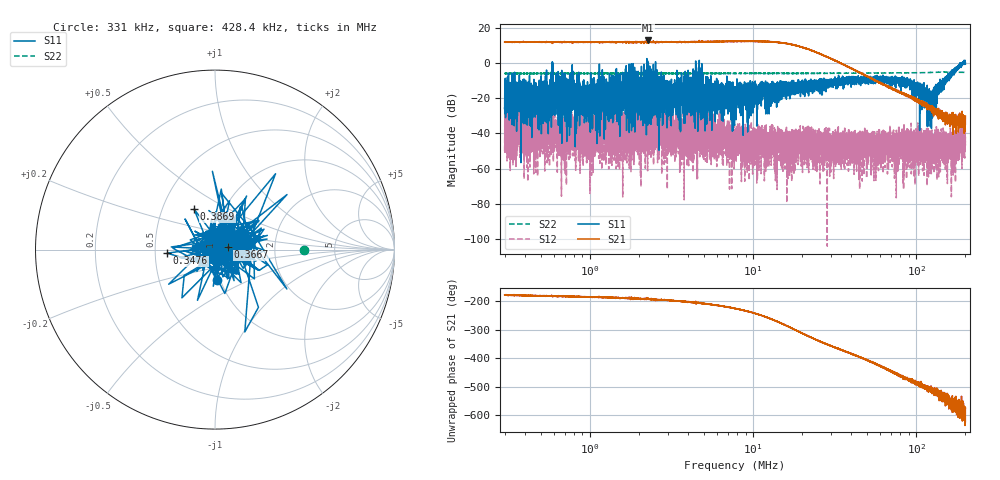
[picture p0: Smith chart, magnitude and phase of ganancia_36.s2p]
# Hz S DB R 50
! CMT, M5065, 19127446, 24.2.4/2
! Date: 11/1/2024 3:34:14 PM
! Data: Format (Calibration Info)
! Freq	S11:dB/Ang(F2)	S21:dB/Ang(F2)	S12:dB/Ang(F2)	S22:dB/Ang(F2)
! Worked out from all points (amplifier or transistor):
!   9000 points, 300 kHz to 200 MHz, reference 50 ohm
!   highest |S21| = 12.7 dB at 2.256 MHz (marker M1)
!   |S21| within 3 dB of that: start of sweep to 18.43 MHz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
!   unconditionally stable (mu >= 1): 2.526 MHz to 4.29 MHz; 4.853 MHz to 185.6 MHz; 185.8 MHz to 191.5 MHz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
!   at 886.8 kHz: K = 2.10, MAG = 13.0 dB, |S12| = -26.2 dB
!   at 7.749 MHz: K = 14.47, MAG = 13.5 dB, |S12| = -44.0 dB
!   at 200 MHz: K = 255.73, MAG = -21.1 dB, |S12| = -42.1 dB
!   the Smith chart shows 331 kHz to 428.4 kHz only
!   S11 on the Smith chart (normalised r, x): 331 kHz: 0.97, -0.34; 347.6 kHz: 0.58, -0.02; 366.7 kHz: 1.15, +0.03; 386.9 kHz: 0.72, +0.35; 428.4 kHz: 0.80, +0.02
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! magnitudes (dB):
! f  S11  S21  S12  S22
! 300 kHz  -25.7  11.8  -50.1  -6.0
! 310.6 kHz  -11.5  11.6  -40.8  -6.1
! 331 kHz  -15.4  11.8  -47.0  -6.1
! 347.6 kHz  -11.5  12.0  -40.7  -6.1
! 366.7 kHz  -22.7  11.8  -32.0  -5.9
! 386.9 kHz  -11.9  11.9  -36.7  -6.1
! 428.4 kHz  -19.1  11.9  -40.9  -6.1
! 886.8 kHz  -24.6  11.7  -26.2  -6.3
! 2.256 MHz  1.1  12.7  -30.4  -5.9
! 2.621 MHz  -17.5  11.7  -40.1  -6.1
! 3.903 MHz  -28.3  11.9  -44.1  -6.0
! 4.309 MHz  -24.4  11.9  -45.0  -6.0
! 7.749 MHz  -18.3  12.2  -44.0  -6.0
! 14.47 MHz  -16.0  11.5  -56.2  -6.0
! 22.91 MHz  -12.5  6.9  -42.6  -6.0
! 29.97 MHz  -10.3  2.3  -42.7  -6.0
! 67.71 MHz  -11.0  -13.9  -53.8  -5.7
! 90.53 MHz  -11.7  -18.9  -40.7  -5.7
! 121.3 MHz  -23.8  -25.3  -37.7  -5.5
! 142.1 MHz  -10.7  -29.0  -43.0  -5.3
! 169.4 MHz  -5.3  -32.1  -41.1  -5.3
! 200 MHz  -0.8  -30.2  -42.1  -5.4
